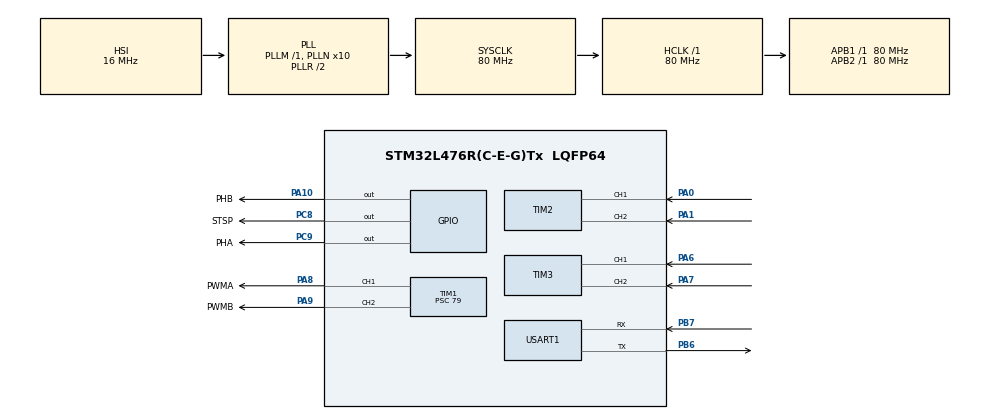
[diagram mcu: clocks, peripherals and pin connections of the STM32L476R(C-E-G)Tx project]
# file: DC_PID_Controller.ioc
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Mcu.Family=STM32L4
Mcu.Name=STM32L476R(C-E-G)Tx
Mcu.Package=LQFP64
NVIC.PriorityGroup=NVIC_PRIORITYGROUP_4
NVIC.TIM4_IRQn=true\:0\:0\:false\:false\:true\:true\:true\:true
NVIC.USART1_IRQn=true\:0\:0\:false\:false\:true\:true\:true\:true
PA0.Signal=S_TIM2_CH1
PA1.Signal=S_TIM2_CH2
PA10.GPIO_Label=PHB
PA10.Signal=GPIO_Output
PA6.Signal=S_TIM3_CH1
PA7.Signal=S_TIM3_CH2
PA8.GPIO_Label=PWMA
PA8.Signal=S_TIM1_CH1
PA9.GPIO_Label=PWMB
PA9.Signal=S_TIM1_CH2
PB6.Mode=Asynchronous
PB6.Signal=USART1_TX
PB7.Mode=Asynchronous
PB7.Signal=USART1_RX
PC8.GPIO_Label=STSP
PC8.Signal=GPIO_Output
PC9.GPIO_Label=PHA
PC9.Signal=GPIO_Output
ProjectManager.HeapSize=0x200
ProjectManager.StackSize=0x400
ProjectManager.TargetToolchain=MDK-ARM V5.32
RCC.ADCFreq_Value=64000000
RCC.AHBFreq_Value=80000000
RCC.APB1Freq_Value=80000000
RCC.APB1TimFreq_Value=80000000
RCC.APB2Freq_Value=80000000
RCC.APB2TimFreq_Value=80000000
RCC.CortexFreq_Value=80000000
RCC.HCLKFreq_Value=80000000
RCC.HSE_VALUE=8000000
RCC.HSI_VALUE=16000000
RCC.LSE_VALUE=32768
RCC.MSI_VALUE=4000000
RCC.PLLN=10
RCC.PLLSourceVirtual=RCC_PLLSOURCE_HSI
RCC.SYSCLKFreq_VALUE=80000000
RCC.SYSCLKSource=RCC_SYSCLKSOURCE_PLLCLK
RCC.USBFreq_Value=64000000
RCC.VCOOutputFreq_Value=160000000
SH.S_TIM1_CH1.0=TIM1_CH1,PWM Generation1 CH1
SH.S_TIM1_CH2.0=TIM1_CH2,PWM Generation2 CH2
SH.S_TIM2_CH1.0=TIM2_CH1,Encoder_Interface
SH.S_TIM2_CH2.0=TIM2_CH2,Encoder_Interface
SH.S_TIM3_CH1.0=TIM3_CH1,Encoder_Interface
SH.S_TIM3_CH2.0=TIM3_CH2,Encoder_Interface
TIM1.Channel-PWM\ Generation1\ CH1=TIM_CHANNEL_1
TIM1.Channel-PWM\ Generation2\ CH2=TIM_CHANNEL_2
TIM1.Period=999
TIM1.Prescaler=79
TIM2.EncoderMode=TIM_ENCODERMODE_TI12
TIM3.EncoderMode=TIM_ENCODERMODE_TI12
TIM4.Period=1999
TIM4.Prescaler=79
USART1.VirtualMode-Asynchronous=VM_ASYNC
VP_TIM4_VS_ClockSourceINT.Mode=Internal
board=custom

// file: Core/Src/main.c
/* USER CODE BEGIN Header */
/**
  ******************************************************************************
  * @file           : main.c
  * @brief          : Main program body
  ******************************************************************************
  * @attention
  *
  * Copyright (c) 2026 STMicroelectronics.
  * All rights reserved.
  *
  * This software is licensed under terms that can be found in the LICENSE file
  * in the root directory of this software component.
  * If no LICENSE file comes with this software, it is provided AS-IS.
  *
  ******************************************************************************
  */
/* USER CODE END Header */
#include "main.h"

/* USER CODE BEGIN Includes */

	#include "motor_control.h"
	#include "motor_encoder.h"
	#include "pid_control.h"
	#include <stdio.h>
	#include "string.h"
	#include "usart_telemetry.h"
	#include "robot_control.h"
	#include "vel_ramp.h"
/* USER CODE END Includes */

/* USER CODE BEGIN PD */
motor_inst motor_left;
motor_inst motor_right;

encoder_inst enc_motor_left;
encoder_inst enc_motor_right;

telem_tx_payload_t telem_data;

pid_instance pid_motor_left;
pid_instance pid_motor_right;

float setpoint_motor_left = 0.0f;
float setpoint_motor_right = 0.0f;

float pos_setpoint_left      = 0.0f;
float pos_setpoint_right     = 0.0f;
robot_mode_t robot_mode      = MODE_POSITION;

pid_instance pid_pos_left;
pid_instance pid_pos_right;

vel_ramp_t ramp_left;
vel_ramp_t ramp_right;

volatile uint8_t timer_flag;

telem_rx_payload_t debug_last_cmd;

/* USER CODE END PD */

TIM_HandleTypeDef htim1;
TIM_HandleTypeDef htim2;
TIM_HandleTypeDef htim3;
TIM_HandleTypeDef htim4;

UART_HandleTypeDef huart1;

void SystemClock_Config(void);
static void MX_GPIO_Init(void);
static void MX_TIM1_Init(void);
static void MX_TIM2_Init(void);
static void MX_TIM3_Init(void);
static void MX_TIM4_Init(void);
static void MX_USART1_UART_Init(void);

/* USER CODE BEGIN 0 */

void HAL_TIM_PeriodElapsedCallback(TIM_HandleTypeDef *htim)
{
	if(htim == &htim4)
	{
		timer_flag = 1;
	}
}

void HAL_UART_RxCpltCallback(UART_HandleTypeDef *huart)
{
    if(huart->Instance == USART1)
    {
        //HAL_UART_Receive_IT(&huart1, &data_rx, 1);
			telem_rx_callback(huart);

    }
}

/* USER CODE END 0 */

int main(void)
{

  /* MCU Configuration--------------------------------------------------------*/

  /* Reset of all peripherals, Initializes the Flash interface and the Systick. */
  HAL_Init();

  /* Configure the system clock */
  SystemClock_Config();

  /* Initialize all configured peripherals */
  MX_GPIO_Init();
  MX_TIM1_Init();
  MX_TIM2_Init();
  MX_TIM3_Init();
  MX_TIM4_Init();
  MX_USART1_UART_Init();
  /* USER CODE BEGIN 2 */
	HAL_TIM_Base_Start_IT(&htim4);

	//uint16_t tx_size = sizeof(telem_tx_payload_t);
	//uint16_t rx_size = sizeof(telem_rx_payload_t);

	robot_control_init();

	uint32_t last_uart_telem = 0;
  /* USER CODE END 2 */

  /* Infinite loop */
  while (1)
  {

    /* USER CODE BEGIN 3 */

		if(timer_flag)
		{
			timer_flag = 0;
			robot_control_update();
		}

		uint32_t now = HAL_GetTick();
    if(now - last_uart_telem >= 1)
    {
        last_uart_telem = now;
        robot_control_telem_send();
    }

		robot_control_handle_cmd();

	//	telem_rx_payload_t cmd;

  }
  /* USER CODE END 3 */
}

void SystemClock_Config(void)
{
  RCC_OscInitTypeDef RCC_OscInitStruct = {0};
  RCC_ClkInitTypeDef RCC_ClkInitStruct = {0};

  /** Configure the main internal regulator output voltage
  */
  if (HAL_PWREx_ControlVoltageScaling(PWR_REGULATOR_VOLTAGE_SCALE1) != HAL_OK)
  {
    Error_Handler();
  }

  /** Initializes the RCC Oscillators according to the specified parameters
  * in the RCC_OscInitTypeDef structure.
  */
  RCC_OscInitStruct.OscillatorType = RCC_OSCILLATORTYPE_HSI;
  RCC_OscInitStruct.HSIState = RCC_HSI_ON;
  RCC_OscInitStruct.HSICalibrationValue = RCC_HSICALIBRATION_DEFAULT;
  RCC_OscInitStruct.PLL.PLLState = RCC_PLL_ON;
  RCC_OscInitStruct.PLL.PLLSource = RCC_PLLSOURCE_HSI;
  RCC_OscInitStruct.PLL.PLLM = 1;
  RCC_OscInitStruct.PLL.PLLN = 10;
  RCC_OscInitStruct.PLL.PLLP = RCC_PLLP_DIV7;
  RCC_OscInitStruct.PLL.PLLQ = RCC_PLLQ_DIV2;
  RCC_OscInitStruct.PLL.PLLR = RCC_PLLR_DIV2;
  if (HAL_RCC_OscConfig(&RCC_OscInitStruct) != HAL_OK)
  {
    Error_Handler();
  }

  /** Initializes the CPU, AHB and APB buses clocks
  */
  RCC_ClkInitStruct.ClockType = RCC_CLOCKTYPE_HCLK|RCC_CLOCKTYPE_SYSCLK
                              |RCC_CLOCKTYPE_PCLK1|RCC_CLOCKTYPE_PCLK2;
  RCC_ClkInitStruct.SYSCLKSource = RCC_SYSCLKSOURCE_PLLCLK;
  RCC_ClkInitStruct.AHBCLKDivider = RCC_SYSCLK_DIV1;
  RCC_ClkInitStruct.APB1CLKDivider = RCC_HCLK_DIV1;
  RCC_ClkInitStruct.APB2CLKDivider = RCC_HCLK_DIV1;

  if (HAL_RCC_ClockConfig(&RCC_ClkInitStruct, FLASH_LATENCY_4) != HAL_OK)
  {
    Error_Handler();
  }
}

static void MX_TIM1_Init(void)
{

  TIM_MasterConfigTypeDef sMasterConfig = {0};
  TIM_OC_InitTypeDef sConfigOC = {0};
  TIM_BreakDeadTimeConfigTypeDef sBreakDeadTimeConfig = {0};

  htim1.Instance = TIM1;
  htim1.Init.Prescaler = 79;
  htim1.Init.CounterMode = TIM_COUNTERMODE_UP;
  htim1.Init.Period = 999;
  htim1.Init.ClockDivision = TIM_CLOCKDIVISION_DIV1;
  htim1.Init.RepetitionCounter = 0;
  htim1.Init.AutoReloadPreload = TIM_AUTORELOAD_PRELOAD_DISABLE;
  if (HAL_TIM_PWM_Init(&htim1) != HAL_OK)
  {
    Error_Handler();
  }
  sMasterConfig.MasterOutputTrigger = TIM_TRGO_RESET;
  sMasterConfig.MasterOutputTrigger2 = TIM_TRGO2_RESET;
  sMasterConfig.MasterSlaveMode = TIM_MASTERSLAVEMODE_DISABLE;
  if (HAL_TIMEx_MasterConfigSynchronization(&htim1, &sMasterConfig) != HAL_OK)
  {
    Error_Handler();
  }
  sConfigOC.OCMode = TIM_OCMODE_PWM1;
  sConfigOC.Pulse = 0;
  sConfigOC.OCPolarity = TIM_OCPOLARITY_HIGH;
  sConfigOC.OCNPolarity = TIM_OCNPOLARITY_HIGH;
  sConfigOC.OCFastMode = TIM_OCFAST_DISABLE;
  sConfigOC.OCIdleState = TIM_OCIDLESTATE_RESET;
  sConfigOC.OCNIdleState = TIM_OCNIDLESTATE_RESET;
  if (HAL_TIM_PWM_ConfigChannel(&htim1, &sConfigOC, TIM_CHANNEL_1) != HAL_OK)
  {
    Error_Handler();
  }
  if (HAL_TIM_PWM_ConfigChannel(&htim1, &sConfigOC, TIM_CHANNEL_2) != HAL_OK)
  {
    Error_Handler();
  }
  sBreakDeadTimeConfig.OffStateRunMode = TIM_OSSR_DISABLE;
  sBreakDeadTimeConfig.OffStateIDLEMode = TIM_OSSI_DISABLE;
  sBreakDeadTimeConfig.LockLevel = TIM_LOCKLEVEL_OFF;
  sBreakDeadTimeConfig.DeadTime = 0;
  sBreakDeadTimeConfig.BreakState = TIM_BREAK_DISABLE;
  sBreakDeadTimeConfig.BreakPolarity = TIM_BREAKPOLARITY_HIGH;
  sBreakDeadTimeConfig.BreakFilter = 0;
  sBreakDeadTimeConfig.Break2State = TIM_BREAK2_DISABLE;
  sBreakDeadTimeConfig.Break2Polarity = TIM_BREAK2POLARITY_HIGH;
  sBreakDeadTimeConfig.Break2Filter = 0;
  sBreakDeadTimeConfig.AutomaticOutput = TIM_AUTOMATICOUTPUT_DISABLE;
  if (HAL_TIMEx_ConfigBreakDeadTime(&htim1, &sBreakDeadTimeConfig) != HAL_OK)
  {
    Error_Handler();
  }
  HAL_TIM_MspPostInit(&htim1);

}

static void MX_TIM2_Init(void)
{

  TIM_Encoder_InitTypeDef sConfig = {0};
  TIM_MasterConfigTypeDef sMasterConfig = {0};

  htim2.Instance = TIM2;
  htim2.Init.Prescaler = 0;
  htim2.Init.CounterMode = TIM_COUNTERMODE_UP;
  htim2.Init.Period = 4294967295;
  htim2.Init.ClockDivision = TIM_CLOCKDIVISION_DIV1;
  htim2.Init.AutoReloadPreload = TIM_AUTORELOAD_PRELOAD_DISABLE;
  sConfig.EncoderMode = TIM_ENCODERMODE_TI12;
  sConfig.IC1Polarity = TIM_ICPOLARITY_RISING;
  sConfig.IC1Selection = TIM_ICSELECTION_DIRECTTI;
  sConfig.IC1Prescaler = TIM_ICPSC_DIV1;
  sConfig.IC1Filter = 0;
  sConfig.IC2Polarity = TIM_ICPOLARITY_RISING;
  sConfig.IC2Selection = TIM_ICSELECTION_DIRECTTI;
  sConfig.IC2Prescaler = TIM_ICPSC_DIV1;
  sConfig.IC2Filter = 0;
  if (HAL_TIM_Encoder_Init(&htim2, &sConfig) != HAL_OK)
  {
    Error_Handler();
  }
  sMasterConfig.MasterOutputTrigger = TIM_TRGO_RESET;
  sMasterConfig.MasterSlaveMode = TIM_MASTERSLAVEMODE_DISABLE;
  if (HAL_TIMEx_MasterConfigSynchronization(&htim2, &sMasterConfig) != HAL_OK)
  {
    Error_Handler();
  }

}

static void MX_TIM3_Init(void)
{

  TIM_Encoder_InitTypeDef sConfig = {0};
  TIM_MasterConfigTypeDef sMasterConfig = {0};

  htim3.Instance = TIM3;
  htim3.Init.Prescaler = 0;
  htim3.Init.CounterMode = TIM_COUNTERMODE_UP;
  htim3.Init.Period = 65535;
  htim3.Init.ClockDivision = TIM_CLOCKDIVISION_DIV1;
  htim3.Init.AutoReloadPreload = TIM_AUTORELOAD_PRELOAD_DISABLE;
  sConfig.EncoderMode = TIM_ENCODERMODE_TI12;
  sConfig.IC1Polarity = TIM_ICPOLARITY_RISING;
  sConfig.IC1Selection = TIM_ICSELECTION_DIRECTTI;
  sConfig.IC1Prescaler = TIM_ICPSC_DIV1;
  sConfig.IC1Filter = 0;
  sConfig.IC2Polarity = TIM_ICPOLARITY_RISING;
  sConfig.IC2Selection = TIM_ICSELECTION_DIRECTTI;
  sConfig.IC2Prescaler = TIM_ICPSC_DIV1;
  sConfig.IC2Filter = 0;
  if (HAL_TIM_Encoder_Init(&htim3, &sConfig) != HAL_OK)
  {
    Error_Handler();
  }
  sMasterConfig.MasterOutputTrigger = TIM_TRGO_RESET;
  sMasterConfig.MasterSlaveMode = TIM_MASTERSLAVEMODE_DISABLE;
  if (HAL_TIMEx_MasterConfigSynchronization(&htim3, &sMasterConfig) != HAL_OK)
  {
    Error_Handler();
  }

}

static void MX_TIM4_Init(void)
{

  TIM_ClockConfigTypeDef sClockSourceConfig = {0};
  TIM_MasterConfigTypeDef sMasterConfig = {0};

  htim4.Instance = TIM4;
  htim4.Init.Prescaler = 79;
  htim4.Init.CounterMode = TIM_COUNTERMODE_UP;
  htim4.Init.Period = 1999;
  htim4.Init.ClockDivision = TIM_CLOCKDIVISION_DIV1;
  htim4.Init.AutoReloadPreload = TIM_AUTORELOAD_PRELOAD_DISABLE;
  if (HAL_TIM_Base_Init(&htim4) != HAL_OK)
  {
    Error_Handler();
  }
  sClockSourceConfig.ClockSource = TIM_CLOCKSOURCE_INTERNAL;
  if (HAL_TIM_ConfigClockSource(&htim4, &sClockSourceConfig) != HAL_OK)
  {
    Error_Handler();
  }
  sMasterConfig.MasterOutputTrigger = TIM_TRGO_RESET;
  sMasterConfig.MasterSlaveMode = TIM_MASTERSLAVEMODE_DISABLE;
  if (HAL_TIMEx_MasterConfigSynchronization(&htim4, &sMasterConfig) != HAL_OK)
  {
    Error_Handler();
  }

}

static void MX_USART1_UART_Init(void)
{

  huart1.Instance = USART1;
  huart1.Init.BaudRate = 115200;
  huart1.Init.WordLength = UART_WORDLENGTH_8B;
  huart1.Init.StopBits = UART_STOPBITS_1;
  huart1.Init.Parity = UART_PARITY_NONE;
  huart1.Init.Mode = UART_MODE_TX_RX;
  huart1.Init.HwFlowCtl = UART_HWCONTROL_NONE;
  huart1.Init.OverSampling = UART_OVERSAMPLING_16;
  huart1.Init.OneBitSampling = UART_ONE_BIT_SAMPLE_DISABLE;
  huart1.AdvancedInit.AdvFeatureInit = UART_ADVFEATURE_NO_INIT;
  if (HAL_UART_Init(&huart1) != HAL_OK)
  {
    Error_Handler();
  }

}

static void MX_GPIO_Init(void)
{
  GPIO_InitTypeDef GPIO_InitStruct = {0};

  /* GPIO Ports Clock Enable */
  __HAL_RCC_GPIOA_CLK_ENABLE();
  __HAL_RCC_GPIOC_CLK_ENABLE();
  __HAL_RCC_GPIOB_CLK_ENABLE();

  /*Configure GPIO pin Output Level */
  HAL_GPIO_WritePin(GPIOC, STSP_Pin|PHA_Pin, GPIO_PIN_RESET);

  /*Configure GPIO pin Output Level */
  HAL_GPIO_WritePin(PHB_GPIO_Port, PHB_Pin, GPIO_PIN_RESET);

  /*Configure GPIO pins : STSP_Pin PHA_Pin */
  GPIO_InitStruct.Pin = STSP_Pin|PHA_Pin;
  GPIO_InitStruct.Mode = GPIO_MODE_OUTPUT_PP;
  GPIO_InitStruct.Pull = GPIO_NOPULL;
  GPIO_InitStruct.Speed = GPIO_SPEED_FREQ_LOW;
  HAL_GPIO_Init(GPIOC, &GPIO_InitStruct);

  /*Configure GPIO pin : PHB_Pin */
  GPIO_InitStruct.Pin = PHB_Pin;
  GPIO_InitStruct.Mode = GPIO_MODE_OUTPUT_PP;
  GPIO_InitStruct.Pull = GPIO_NOPULL;
  GPIO_InitStruct.Speed = GPIO_SPEED_FREQ_LOW;
  HAL_GPIO_Init(PHB_GPIO_Port, &GPIO_InitStruct);

}

void Error_Handler(void)
{
  __disable_irq();
  while (1)
  {
  }
}
